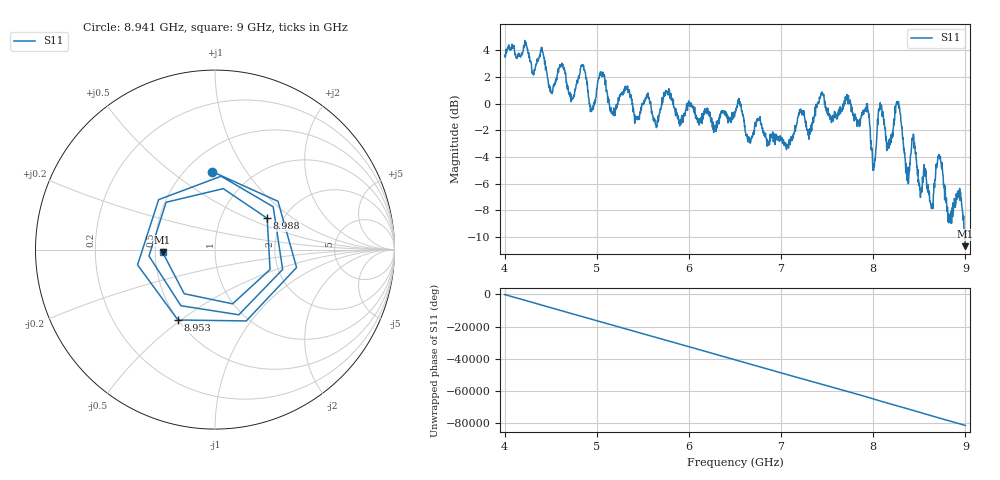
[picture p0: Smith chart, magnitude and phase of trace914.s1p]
! Created with skrf 1.8.0 (http://scikit-rf.org).
# Hz S RI R 50.0
!freq ReS11 ImS11
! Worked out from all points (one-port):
!   1601 points, 4 GHz to 9 GHz, reference 50 ohm
!   lowest |S11| = -10.7 dB at 9 GHz (marker M1), VSWR 1.83, Z = 27.4 - j0.845 ohm
!   |S11| at or under -10 dB: 8.994225 GHz to end of sweep
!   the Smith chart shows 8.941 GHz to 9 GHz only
!   S11 on the Smith chart (normalised r, x): 8.941 GHz: 0.67, +0.71; 8.953 GHz: 0.50, -0.49; 8.988 GHz: 1.66, +0.65; 9 GHz: 0.55, -0.02
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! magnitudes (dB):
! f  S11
! 4 GHz  3.6
! 4.406 GHz  4.2
! 4.503 GHz  0.8
! 4.625 GHz  2.9
! 4.722 GHz  0.1
! 4.847 GHz  2.9
! 4.941 GHz  -0.5
! 5.053 GHz  2.3
! 5.25 GHz  0.7
! 5.875 GHz  -1.1
! 6.5 GHz  -0.7
! 7.125 GHz  -2.4
! 7.441 GHz  0.8
! 7.75 GHz  0.3
! 7.931 GHz  -0.2
! 8.003 GHz  -5.0
! 8.069 GHz  -0.4
! 8.169 GHz  -3.3
! 8.269 GHz  0.0
! 8.375 GHz  -5.8
! 8.438 GHz  -2.3
! 8.625 GHz  -7.6
! 8.709 GHz  -4.0
! 8.825 GHz  -8.9
! 8.941 GHz  -7.2
! 8.953 GHz  -7.1
! 8.988 GHz  -9.4
! 9 GHz  -10.7
